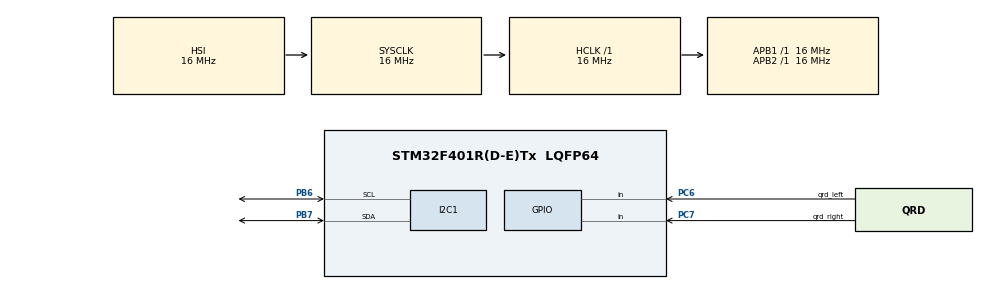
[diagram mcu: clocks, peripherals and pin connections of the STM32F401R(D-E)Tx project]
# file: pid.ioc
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Mcu.Family=STM32F4
Mcu.Name=STM32F401R(D-E)Tx
Mcu.Package=LQFP64
NVIC.PriorityGroup=NVIC_PRIORITYGROUP_4
PB6.Mode=I2C
PB6.Signal=I2C1_SCL
PB7.Mode=I2C
PB7.Signal=I2C1_SDA
PC6.GPIO_Label=qrd_left
PC6.GPIO_PuPd=GPIO_PULLDOWN
PC6.Signal=GPIO_Input
PC7.GPIO_Label=qrd_right
PC7.GPIO_PuPd=GPIO_PULLDOWN
PC7.Signal=GPIO_Input
ProjectManager.HeapSize=0x200
ProjectManager.StackSize=0x400
ProjectManager.TargetToolchain=Makefile
RCC.AHBFreq_Value=16000000
RCC.APB1Freq_Value=16000000
RCC.APB2Freq_Value=16000000
RCC.CortexFreq_Value=16000000
RCC.HSE_VALUE=25000000
RCC.HSI_VALUE=16000000
RCC.LSE_VALUE=32768
RCC.SYSCLKFreq_VALUE=16000000
RCC.VCOOutputFreq_Value=192000000
VP_TIM1_VS_ClockSourceINT.Mode=Internal
board=custom

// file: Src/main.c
/**
  ******************************************************************************
  * @file           : main.c
  * @brief          : Main program body
  ******************************************************************************
  ** This notice applies to any and all portions of this file
  * that are not between comment pairs USER CODE BEGIN and
  * USER CODE END. Other portions of this file, whether
  * inserted by the user or by software development tools
  * are owned by their respective copyright owners.
  *
  * COPYRIGHT(c) 2018 STMicroelectronics
  *
  * Redistribution and use in source and binary forms, with or without modification,
  * are permitted provided that the following conditions are met:
  *   1. Redistributions of source code must retain the above copyright notice,
  *      this list of conditions and the following disclaimer.
  *   2. Redistributions in binary form must reproduce the above copyright notice,
  *      this list of conditions and the following disclaimer in the documentation
  *      and/or other materials provided with the distribution.
  *   3. Neither the name of STMicroelectronics nor the names of its contributors
  *      may be used to endorse or promote products derived from this software
  *      without specific prior written permission.
  *
  * THIS SOFTWARE IS PROVIDED BY THE COPYRIGHT HOLDERS AND CONTRIBUTORS "AS IS"
  * AND ANY EXPRESS OR IMPLIED WARRANTIES, INCLUDING, BUT NOT LIMITED TO, THE
  * IMPLIED WARRANTIES OF MERCHANTABILITY AND FITNESS FOR A PARTICULAR PURPOSE ARE
  * DISCLAIMED. IN NO EVENT SHALL THE COPYRIGHT HOLDER OR CONTRIBUTORS BE LIABLE
  * FOR ANY DIRECT, INDIRECT, INCIDENTAL, SPECIAL, EXEMPLARY, OR CONSEQUENTIAL
  * DAMAGES (INCLUDING, BUT NOT LIMITED TO, PROCUREMENT OF SUBSTITUTE GOODS OR
  * SERVICES; LOSS OF USE, DATA, OR PROFITS; OR BUSINESS INTERRUPTION) HOWEVER
  * CAUSED AND ON ANY THEORY OF LIABILITY, WHETHER IN CONTRACT, STRICT LIABILITY,
  * OR TORT (INCLUDING NEGLIGENCE OR OTHERWISE) ARISING IN ANY WAY OUT OF THE USE
  * OF THIS SOFTWARE, EVEN IF ADVISED OF THE POSSIBILITY OF SUCH DAMAGE.
  *
  ******************************************************************************
  */
#include "main.h"
#include "stm32f4xx_hal.h"

/* USER CODE BEGIN Includes */
#include "fonts.h"
#include "ssd1306.h"
#include "pid.h"

/* USER CODE END Includes */

I2C_HandleTypeDef hi2c1;

TIM_HandleTypeDef htim1;

/* USER CODE BEGIN PV */
/* Private variables ---------------------------------------------------------*/

/* USER CODE END PV */

void SystemClock_Config(void);
static void MX_GPIO_Init(void);
static void MX_TIM1_Init(void);
static void MX_I2C1_Init(void);

/* USER CODE BEGIN PFP */
/* Private function prototypes -----------------------------------------------*/

/* USER CODE END PFP */

int main(void)
{

  /* MCU Configuration----------------------------------------------------------*/

  /* Reset of all peripherals, Initializes the Flash interface and the Systick. */
  HAL_Init();

  /* Configure the system clock */
  SystemClock_Config();

  /* Initialize all configured peripherals */
  MX_GPIO_Init();
  MX_TIM1_Init();
  MX_I2C1_Init();
  /* USER CODE BEGIN 2 */
  ssd1306_Init();
  HAL_Delay(1000);
  ssd1306_Fill(Black);
  ssd1306_UpdateScreen();

  char *pid_err = (char*)malloc(13*sizeof(char));
  char *pid_res = (char*)malloc(13*sizeof(char));

  HAL_Delay(1000);

  PID_t test = pid_Init(10,200,0,0,2);

  /* USER CODE END 2 */

  /* Infinite loop */
  /* USER CODE BEGIN WHILE */
  while (1)
  {
    /* Read sensors */
    int left = HAL_GPIO_ReadPin(qrd_left_GPIO_Port, qrd_left_Pin);
    int right = HAL_GPIO_ReadPin(qrd_right_GPIO_Port, qrd_right_Pin);

    /* Get error */
    if(left && right){ test.err = 0; }
    else if(left && !right){ test.err = 1; }
    else if(!left && right){ test.err = -1; }
    else if(!left && !right && (test.err < 0)){ test.err = -5; }
    else if(!left && !right && (test.err > 0)){ test.err = 5; }

    /* Get gain */
    double gain = pid_GetGain(&test, &htim1);

    sprintf(pid_err, "Err: %d", (int) test.err);
    sprintf(pid_res, "Res: %d", (int) gain);

    ssd1306_Fill(Black);
    ssd1306_SetCursor(0,0);
    ssd1306_WriteString(pid_err, Font_11x18,White);
    ssd1306_SetCursor(0,20);
    ssd1306_WriteString(pid_res, Font_11x18,White);
    ssd1306_UpdateScreen();

  /* USER CODE END WHILE */

  }

}

void SystemClock_Config(void)
{

  RCC_OscInitTypeDef RCC_OscInitStruct;
  RCC_ClkInitTypeDef RCC_ClkInitStruct;

    /**Configure the main internal regulator output voltage
    */
  __HAL_RCC_PWR_CLK_ENABLE();

  __HAL_PWR_VOLTAGESCALING_CONFIG(PWR_REGULATOR_VOLTAGE_SCALE2);

    /**Initializes the CPU, AHB and APB busses clocks
    */
  RCC_OscInitStruct.OscillatorType = RCC_OSCILLATORTYPE_HSI;
  RCC_OscInitStruct.HSIState = RCC_HSI_ON;
  RCC_OscInitStruct.HSICalibrationValue = 16;
  RCC_OscInitStruct.PLL.PLLState = RCC_PLL_NONE;
  if (HAL_RCC_OscConfig(&RCC_OscInitStruct) != HAL_OK)
  {
    _Error_Handler(__FILE__, __LINE__);
  }

    /**Initializes the CPU, AHB and APB busses clocks
    */
  RCC_ClkInitStruct.ClockType = RCC_CLOCKTYPE_HCLK|RCC_CLOCKTYPE_SYSCLK
                              |RCC_CLOCKTYPE_PCLK1|RCC_CLOCKTYPE_PCLK2;
  RCC_ClkInitStruct.SYSCLKSource = RCC_SYSCLKSOURCE_HSI;
  RCC_ClkInitStruct.AHBCLKDivider = RCC_SYSCLK_DIV1;
  RCC_ClkInitStruct.APB1CLKDivider = RCC_HCLK_DIV1;
  RCC_ClkInitStruct.APB2CLKDivider = RCC_HCLK_DIV1;

  if (HAL_RCC_ClockConfig(&RCC_ClkInitStruct, FLASH_LATENCY_0) != HAL_OK)
  {
    _Error_Handler(__FILE__, __LINE__);
  }

    /**Configure the Systick interrupt time
    */
  HAL_SYSTICK_Config(HAL_RCC_GetHCLKFreq()/1000);

    /**Configure the Systick
    */
  HAL_SYSTICK_CLKSourceConfig(SYSTICK_CLKSOURCE_HCLK);

  /* SysTick_IRQn interrupt configuration */
  HAL_NVIC_SetPriority(SysTick_IRQn, 0, 0);
}

/* I2C1 init function */
static void MX_I2C1_Init(void)
{

  hi2c1.Instance = I2C1;
  hi2c1.Init.ClockSpeed = 100000;
  hi2c1.Init.DutyCycle = I2C_DUTYCYCLE_2;
  hi2c1.Init.OwnAddress1 = 0;
  hi2c1.Init.AddressingMode = I2C_ADDRESSINGMODE_7BIT;
  hi2c1.Init.DualAddressMode = I2C_DUALADDRESS_DISABLE;
  hi2c1.Init.OwnAddress2 = 0;
  hi2c1.Init.GeneralCallMode = I2C_GENERALCALL_DISABLE;
  hi2c1.Init.NoStretchMode = I2C_NOSTRETCH_DISABLE;
  if (HAL_I2C_Init(&hi2c1) != HAL_OK)
  {
    _Error_Handler(__FILE__, __LINE__);
  }

}

/* TIM1 init function */
static void MX_TIM1_Init(void)
{

  TIM_ClockConfigTypeDef sClockSourceConfig;
  TIM_MasterConfigTypeDef sMasterConfig;

  htim1.Instance = TIM1;
  htim1.Init.Prescaler = 40000;
  htim1.Init.CounterMode = TIM_COUNTERMODE_UP;
  htim1.Init.Period = 100;
  htim1.Init.ClockDivision = TIM_CLOCKDIVISION_DIV1;
  htim1.Init.RepetitionCounter = 0;
  if (HAL_TIM_Base_Init(&htim1) != HAL_OK)
  {
    _Error_Handler(__FILE__, __LINE__);
  }

  sClockSourceConfig.ClockSource = TIM_CLOCKSOURCE_INTERNAL;
  if (HAL_TIM_ConfigClockSource(&htim1, &sClockSourceConfig) != HAL_OK)
  {
    _Error_Handler(__FILE__, __LINE__);
  }

  sMasterConfig.MasterOutputTrigger = TIM_TRGO_RESET;
  sMasterConfig.MasterSlaveMode = TIM_MASTERSLAVEMODE_DISABLE;
  if (HAL_TIMEx_MasterConfigSynchronization(&htim1, &sMasterConfig) != HAL_OK)
  {
    _Error_Handler(__FILE__, __LINE__);
  }

}

/** Configure pins as
        * Analog
        * Input
        * Output
        * EVENT_OUT
        * EXTI
*/
static void MX_GPIO_Init(void)
{

  GPIO_InitTypeDef GPIO_InitStruct;

  /* GPIO Ports Clock Enable */
  __HAL_RCC_GPIOC_CLK_ENABLE();
  __HAL_RCC_GPIOB_CLK_ENABLE();

  /*Configure GPIO pins : qrd_left_Pin qrd_right_Pin */
  GPIO_InitStruct.Pin = qrd_left_Pin|qrd_right_Pin;
  GPIO_InitStruct.Mode = GPIO_MODE_INPUT;
  GPIO_InitStruct.Pull = GPIO_NOPULL;
  HAL_GPIO_Init(GPIOC, &GPIO_InitStruct);

}

void _Error_Handler(char *file, int line)
{
  while(1)
  {
  }
}

/************************ (C) COPYRIGHT STMicroelectronics *****END OF FILE****/
